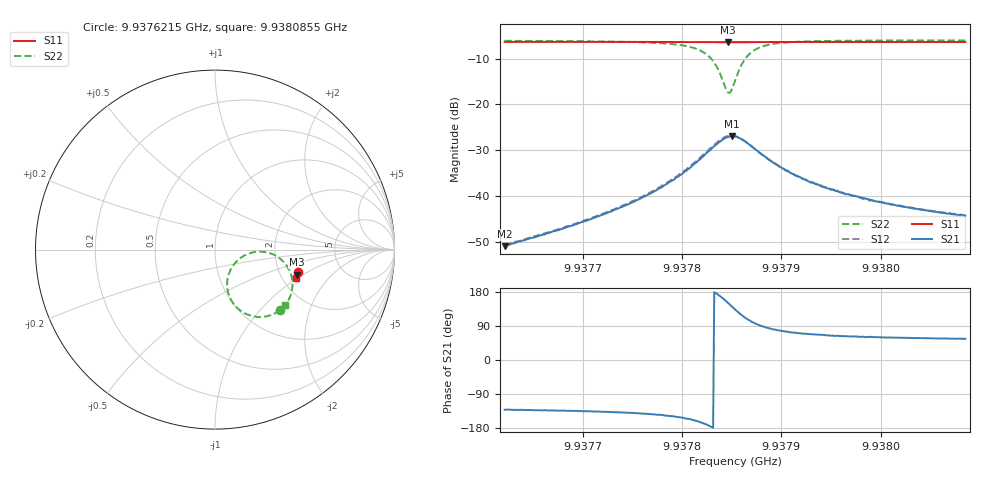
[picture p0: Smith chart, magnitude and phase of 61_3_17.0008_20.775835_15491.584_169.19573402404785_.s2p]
#  HZ  S  RI  R  50.00
! Rohde & Schwarz Vector Network Analyzer
! Rohde-Schwarz,ZNB20-2Port,1311601062101988,3.16
! Created: UTC 3/20/2024, 10:54:49 PM
! freq[Hz]  re:S11  im:S11  re:S21  im:S21  re:S12  im:S12  re:S22  im:S22
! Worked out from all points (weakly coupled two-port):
!   401 points, 9.9376215 GHz to 9.9380855 GHz, reference 50 ohm
!   highest |S21| = -26.96 dB at 9.93785 GHz (marker M1); lowest = -50.9 dB at 9.9376215 GHz (marker M2)
!   lowest |S11| = -6.5 dB at 9.9378465 GHz (marker M3), VSWR 2.81, Z = 122 - j44.1 ohm
!   |S11| at or under -10 dB: nowhere
!   |S22| runs from -17.5 to -6.0 dB; largest |S21 - S12| = 0.0028
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9.93762154e9  0.4649 -0.127  -0.00188 -0.00214  -0.00194 -0.00215  0.3619 -0.3368
9.93769925e9  0.4629 -0.1324  -0.0037 -0.00369  -0.00379 -0.00369  0.3418 -0.3505
9.93774796e9  0.4614 -0.1358  -0.00634 -0.00542  -0.00659 -0.00544  0.3152 -0.3633
9.93777695e9  0.4604 -0.138  -0.00982 -0.00703  -0.0102 -0.00697  0.2833 -0.3724
9.93780595e9  0.4589 -0.1402  -0.0178 -0.00814  -0.0185 -0.00806  0.2152 -0.3723
9.93782334e9  0.4573 -0.1413  -0.0279 -0.00557  -0.0292 -0.00494  0.1353 -0.3352
9.93783378e9  0.4558 -0.1415  -0.0359 0.00174  -0.0372 0.00345  0.0803 -0.2605
9.93784074e9  0.455 -0.1406  -0.0394 0.0115  -0.0402 0.0137  0.0685 -0.1743
9.93784422e9  0.4549 -0.1403  -0.0395 0.0175  -0.0397 0.0202  0.0808 -0.1256
9.93784654e9  0.4547 -0.1399  -0.0384 0.0216  -0.0381 0.0244  0.0976 -0.0935
9.93785002e9  0.4549 -0.1393  -0.0353 0.0278  -0.0344 0.0302  0.1338 -0.0529
9.9378535e9  0.4553 -0.1391  -0.0307 0.0322  -0.0293 0.0345  0.1799 -0.0253
9.93785814e9  0.4559 -0.1387  -0.0233 0.0359  -0.0213 0.0376  0.2448 -0.0115
9.93786278e9  0.4566 -0.1387  -0.016 0.0368  -0.0142 0.0376  0.3032 -0.0193
9.93786858e9  0.4574 -0.1392  -0.00865 0.035  -0.00688 0.0354  0.357 -0.0463
9.93787553e9  0.4581 -0.1399  -0.00253 0.0314  -0.00132 0.0314  0.3963 -0.0851
9.93788713e9  0.4586 -0.1411  0.00249 0.0252  0.00333 0.0249  0.4244 -0.1417
9.93790337e9  0.4585 -0.1429  0.00488 0.0188  0.00538 0.0188  0.4321 -0.1943
9.9379312e9  0.4581 -0.1455  0.00533 0.0131  0.00566 0.0129  0.4255 -0.2423
9.93796136e9  0.4573 -0.1477  0.00489 0.00968  0.00517 0.00953  0.4161 -0.2684
9.93800891e9  0.4562 -0.1511  0.00416 0.00706  0.00434 0.00701  0.4045 -0.2906
9.93808545e9  0.454 -0.1564  0.00343 0.00506  0.00354 0.00505  0.3921 -0.3089
